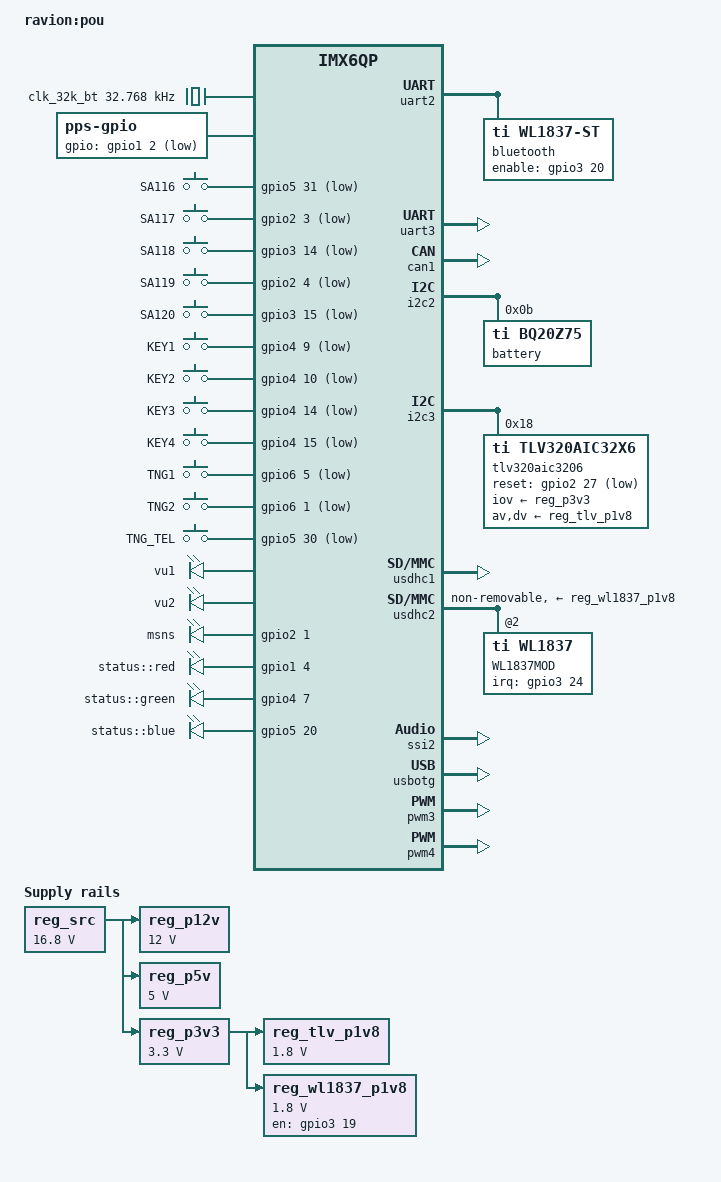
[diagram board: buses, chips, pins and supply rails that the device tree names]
/*
 * Copyright 2025 Radioavionica Corp.
 *
 * This program is free software; you can redistribute it and/or modify
 * it under the terms of the GNU General Public License version 2 as
 * published by the Free Software Foundation.
 *
 */

/*
 * Brief description:
 * 12v 5v 3.3v regs
 * [+] LMZM33606RLXR dcdc 3.5-36
 * [+] PWR_DOWN_127 default for ravion
 * [+] PWR_REQ_125 default for ravion
 * [+] RESETn_121 default for ravion
 * [+] TLV320AIC3206 audio codec
 * WL1837:
 * [+] uart2 -> BT
 * [+] SD2 -> WLsdio
 * [+] WL_IRQ_23
 * [+] WLAN_EN#_25
 * [+] BT_EN#_27
 *
 * M20072:
 * [+] PPS_55
 * [+] GPS_EN_113
 *
 * [+] RESET_AUDIO_114
 * [+] SA3_116
 * [+] SA4_117
 * [+] SA5_118
 * [+] SA6_119
 * [+] SA7_120
 * [+] VU1_PE
 * [+] VU2_PE
 * [+] KEY1_152
 * [+] KEY2_154
 * [+] KEY3_156
 * [+] KEY4_158
 * [+] TNG1_160
 * [+] TNG2_162
 * [+] TNG_TEL_164
 * [+] STATUS_LED_R 188
 * [+] STATUS_LED_G 190
 * [+] STATUS_LED_B 192
 * [+] CY7C65215A usb -> usart1 {MAX13488EESA usart1 -> rs485} usb -> uart_msns {M20072}
 * [+] MAX3245EETX uart1 -> rs232_1 uart3 -> rs232_3
 * [+] I2C SMB
 *
 */

/dts-v1/;
#include "imx6qp.dtsi"

#include "imx6qdl-ravion-v2.dtsi"

/ {
	model = "ravion:pou";
	compatible = "ravion,imx6qp", "fsl,imx6qp";

	/*
	 * Device cpecifiv clock generators
	 */
	clk_32k_bt: bt_clk {
		compatible = "fixed-clock";
		#clock-cells = <0>;
		clock-frequency = <32768>;
		clock-accuracy = <100>;
	};

	/*
	 * Device specific regulators
	 */
	reg_src: regulator-power { /* DA5 */
			compatible = "regulator-fixed";
			regulator-name = "U_BAT";
			regulator-min-microvolt = <16800000>;
			regulator-max-microvolt = <16800000>;
			regulator-boot-on;
			regulator-always-on;
	};

	reg_p12v: regulator-p12v { /* DA6 */
			compatible = "regulator-fixed";
			regulator-name = "P12V";
			regulator-min-microvolt = <12000000>;
			regulator-max-microvolt = <12000000>;
			vin-supply = <&reg_src>;
			regulator-boot-on;
			regulator-always-on;
	};

	reg_p5v: regulator-p5v { /* DA7 */
			compatible = "regulator-fixed";
			regulator-name = "P5V";
			regulator-min-microvolt = <5000000>;
			regulator-max-microvolt = <5000000>;
			vin-supply = <&reg_src>;
			regulator-boot-on;
			regulator-always-on;
	};

	reg_p3v3: regulator-p3v3 { /* DA8 */
			compatible = "regulator-fixed";
			regulator-name = "P3V3";
			regulator-min-microvolt = <3300000>;
			regulator-max-microvolt = <3300000>;
			vin-supply = <&reg_src>;
			regulator-boot-on;
			regulator-always-on;
	};

	reg_tlv_p1v8: regulator-tlv { /* DA27 */
			compatible = "regulator-fixed";
			regulator-name = "TLV-P1V8";
			regulator-min-microvolt = <1800000>;
			regulator-max-microvolt = <1800000>;
			vin-supply = <&reg_p3v3>;
			regulator-boot-on;
			regulator-always-on;
	};

	reg_wl1837_p1v8: regulator-wl1837-p1v8 { /* DA6 */
			compatible = "regulator-fixed";
			regulator-name = "wl1837-reg";
			regulator-min-microvolt = <1800000>;
			regulator-max-microvolt = <1800000>;
			vin-supply = <&reg_p3v3>;
			gpio = <&gpio3 19 GPIO_ACTIVE_HIGH>;
			startup-delay-us = <70000>;
			enable-active-high;
	};

	sound-tlv320 {
		compatible = "fsl,imx-audio-tlv320aic32x4";
		model = "ravion-tlv320aic3206";
		ssi-controller = <&ssi2>;
		audio-codec = <&tlv320aic3206>;
		audio-routing =
			"IN1_L", "Line In Jack",
			"IN1_R", "Line In Jack",
			"IN2_L", "Line In Jack",
			"IN2_R", "Line In Jack",
			"Headphone Jack", "HPL",
			"Headphone Jack", "HPR",
			"Line Out Jack", "LOL",
			"Line Out Jack", "LOR";
		mux-int-port = <2>;
		mux-ext-port = <5>;
	};

	pps {
		compatible = "pps-gpio";
		gpios	= <&gpio1  2 GPIO_ACTIVE_LOW>;		/* soDimm055 */
	};

	gpio-keys {
		compatible = "gpio-keys";

		SA116 {
			label = "SA116";
			gpios = <&gpio5 31 GPIO_ACTIVE_LOW>;	/* soDimm 116 */
			linux,code = <KEY_F12>;
			debounce-interval = <100>;
			wakeup-source;
		};

		SA117 {
			label = "SA117";
			gpios = <&gpio2 3 GPIO_ACTIVE_LOW>;	/* soDimm 117 */
			linux,code = <KEY_F13>;
			debounce-interval = <100>;
			wakeup-source;
		};

		SA118 {
			label = "SA118";
			gpios = <&gpio3 14 GPIO_ACTIVE_LOW>;	/* soDimm 118 */
			linux,code = <KEY_F14>;
			debounce-interval = <100>;
			wakeup-source;
		};

		SA119 {
			label = "SA119";
			gpios = <&gpio2 4 GPIO_ACTIVE_LOW>;	/* soDimm 119 */
			linux,code = <KEY_F15>;
			debounce-interval = <100>;
			wakeup-source;
		};

		SA120 {
			label = "SA120";
			gpios = <&gpio3 15 GPIO_ACTIVE_LOW>;	/* soDimm 120 */
			linux,code = <KEY_F16>;
			debounce-interval = <100>;
			wakeup-source;
		};

		KEY1 {
			label = "KEY1";				/* FKC1 */
			gpios = <&gpio4 9 GPIO_ACTIVE_LOW>;	/* soDimm152 */
			linux,code = <KEY_F3>;
			debounce-interval = <100>;
			wakeup-source;
		};

		KEY2 {
			label = "KEY2";				/* PRD */
			gpios = <&gpio4 10 GPIO_ACTIVE_LOW>;	/* soDimm154 */
			linux,code = <KEY_F7>;
			debounce-interval = <100>;
			wakeup-source;
		};

		KEY3 {
			label = "KEY3";				/* ABN */
			gpios = <&gpio4 14 GPIO_ACTIVE_LOW>;	/* soDimm156 */
			linux,code = <KEY_F6>;
			debounce-interval = <100>;
			wakeup-source;
		};

		KEY4 {
			label = "KEY4";				/* FKC2 */
			gpios = <&gpio4 15 GPIO_ACTIVE_LOW>;	/* soDimm158 */
			linux,code = <KEY_F9>;
			debounce-interval = <100>;
			wakeup-source;
		};

		TNG1 {
			label = "TNG1";
			gpios = <&gpio6 5 GPIO_ACTIVE_LOW>;	/* soDimm162 */
			linux,code = <KEY_F2>;
			debounce-interval = <100>;
			wakeup-source;
		};

		TNG2 {
			label = "TNG2";
			gpios = <&gpio6 1 GPIO_ACTIVE_LOW>;	/* soDimm160 */
			linux,code = <KEY_F10>;
			debounce-interval = <100>;
			wakeup-source;
		};

		TNG_TEL {
			label = "TNG_TEL";
			gpios = <&gpio5 30 GPIO_ACTIVE_LOW>;	/* soDimm164 */
			linux,code = <KEY_F11>;
			debounce-interval = <100>;
			wakeup-source;
		};

	};

	gpio-leds {
		compatible = "gpio-leds";

		vu1 {
			label = "vu1";
			gpio = <&gpio2 11 GPIO_ACTIVE_HIGH>;	/* soDimm133 */
			default-state = "off";
		};

		vu2 {
			label = "vu2";
			gpio = <&gpio4 8 GPIO_ACTIVE_HIGH>;	/* soDimm150 */
			default-state = "off";
		};

		gps_en {
			label = "msns";
			gpios = <&gpio2 1 GPIO_ACTIVE_HIGH>;	/* soDimm113 */
			default-state = "on";
		};

		status_red {
			label = "status::red";
			gpios = <&gpio1 4 GPIO_ACTIVE_HIGH>;	/* soDimm188 */
			default-state = "off";
		};

		status_green {
			label = "status::green";
			gpios = <&gpio4 7 GPIO_ACTIVE_HIGH>;	/* soDimm190 */
			default-state = "off";
		};

		status_blue {
			label = "status::blue";
			linux,default-trigger = "heartbeat";
			gpios = <&gpio5 20 GPIO_ACTIVE_HIGH>;	/* soDimm192 */
			default-state = "on";
		};
	};
};

/*
 * Serial ports
 */
/* &uart1 {	status = "okay";	}; => Allways enabled */
&uart2 {
	uart-has-rtscts;
	status = "okay";

	bluetooth {
		enable-gpios = <&gpio3 20 GPIO_ACTIVE_HIGH>;	/* soDimm 027 */
		compatible = "ti,wl1837-st";
		clocks = <&clk_32k_bt 0>;
		clock-names = "ext_clock";
		max-speed = <3686400>;
		current-speed = <115200>;
		status = "okay";
	};
};

&uart3 {
	status = "okay";
};

/*
 * Controller Area Network (CAN) Bus
 */
&can1 {
	status = "okay";
};

/*
 * I2C Busses
 */
&i2c2 {	/* Compatible I2C: soDimm 194, 196 */
	status = "okay";

	battery@b {
		compatible = "ti,bq20z75", "sbs,sbs-battery";
		reg = <0xb>;
		sbs,i2c-retry-count = <2>;
		sbs,poll-retry-count = <10>;

	};
};

&i2c3 { /* Extended I2C: soDimm 128, 130 */
	status = "okay";

	/* ext codec */
	#address-cells = <1>;
	#size-cells = <0>;
	tlv320aic3206: codec@18 {
		compatible = "ti,tlv320aic32x6";
		reg = <0x18>;
		pinctrl-names = "default";
		pinctrl-0 = <&pinctrl_ext_aud5>, <&pinctrl_clkext>;
		iov-supply = <&reg_p3v3>;
		av-supply = <&reg_tlv_p1v8>;
		dv-supply = <&reg_tlv_p1v8>;
		reset-gpios = <&gpio2 27 GPIO_ACTIVE_LOW>;	/* soDimm 114 */
		clocks = <&clks IMX6QDL_CLK_CKO2>;		/* soDimm 137 */
		clock-names = "mclk";
	};
};

&mipi_csi {
	status = "disabled";
};

/*
 * SD/MMC and eMMC controllers
 */
&usdhc1 {	status = "okay";	}; /* compatible */
&usdhc2 {				   /* externed - WiFi module */
	keep-power-in-suspend;
	cap-power-off-card;
	non-removable;
	max-frequency = <5000000>;
	status = "okay";
	vmmc-supply = <&reg_wl1837_p1v8>;
	#address-cells = <1>;
	#size-cells = <0>;

	WL1837MOD: wlcore@2 {
		compatible = "ti,wl1837";
		reg = <2>;
		interrupt-parent = <&gpio3>;
		interrupts = <24 IRQ_TYPE_LEVEL_HIGH>;	/* soDim023 */
		tcxo-clock-frequency = <26000000>;
	};
};
/* &usdhc3 {	status = "okay";	}; => eMMC allways enabled */

/*
 * Ethernet controller
 */
/* &fec {	status = "okay";	}; => eth0 allways enabled */

/*
 * Audio (digital part)
 */
/* &audmux	{	status = "okay";	}; => always enabled */
/* &ssi1	{	status = "okay";	}; => always enabled */
&ssi2 	{	status = "okay";	}; /* for external codec */

/* &usbh1  {	status = "okay";	}; HOST => Allways enabled */

&usbotg	{ /* OTG */
	status = "okay";
};

/*
 * PWMs
 */
&pwm3	{	status = "okay";	};
&pwm4	{	status = "okay";	};

&iomuxc {
	pinctrl-names = "default";
	pinctrl-0 = <&pinctrl_hog>, <&pinctrl_uart1gpio>;
};
